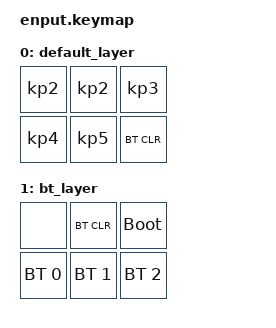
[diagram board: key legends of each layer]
#include <behaviors.dtsi>
#include <dt-bindings/zmk/keys.h>
#include <dt-bindings/zmk/bt.h>

/ {
    keymap {
        compatible = "zmk,keymap";

        default_layer {
            bindings = <
                &kp KP_N2       &kp KP_N2       &kp KP_N3
                &kp KP_N4       &kp KP_N5       &bt BT_CLR
                >;
        };

        bt_layer { 
            bindings = <
                &none         &bt BT_CLR          &bootloader
                &bt BT_SEL 0  &bt BT_SEL 1        &bt BT_SEL 2
                >;
        };
    };
};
